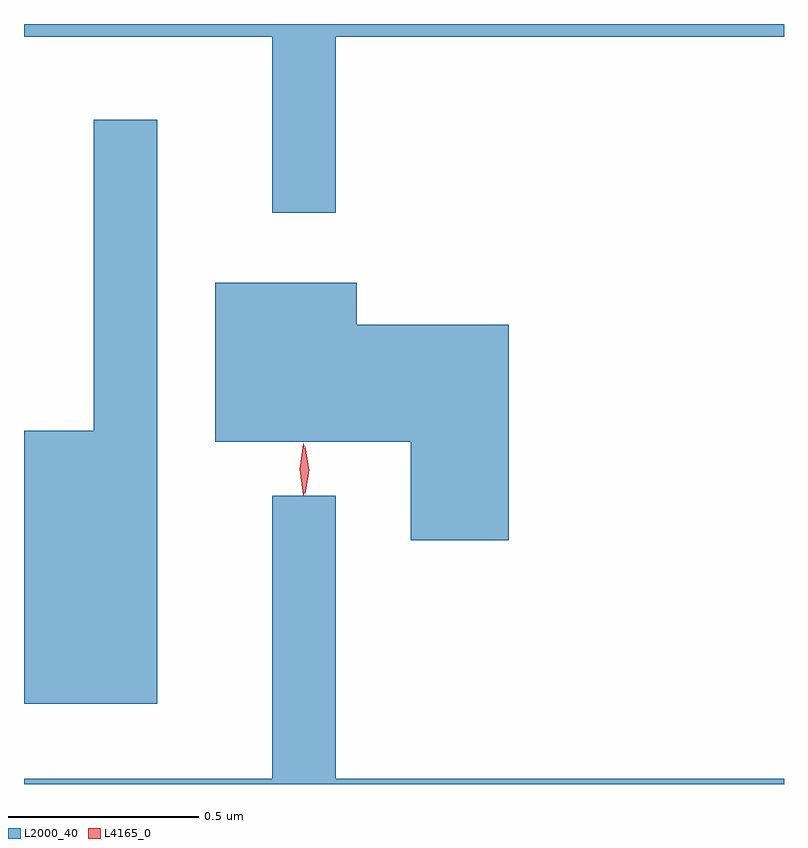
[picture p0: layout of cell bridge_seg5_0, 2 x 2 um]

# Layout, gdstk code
import gdstk
lib = gdstk.Library(unit=1e-6, precision=1e-09)
def P(c, l, *ps):  # polygons
    for p in ps: c.add(gdstk.Polygon(p, *l))
L2000_40 = (2000, 40)
L4165_0 = (4165, 0)

bridge_seg5_0 = lib.new_cell('bridge_seg5_0')
P(bridge_seg5_0, L2000_40, [(1736.139,1507.856),(1737.318,1507.856),(1737.318,1507.89),(1735.318,1507.89),(1735.318,1507.856),(1735.971,1507.856),(1735.971,1507.393),(1736.139,1507.393)],
  [(1735.669,1507.638),(1735.501,1507.638),(1735.501,1506.819),(1735.318,1506.819),(1735.318,1506.101),(1735.669,1506.101)],
  [(1736.594,1507.099),(1736.194,1507.099),(1736.194,1507.209),(1735.821,1507.209),(1735.821,1506.791),(1736.336,1506.791),(1736.336,1506.531),(1736.594,1506.531)],
  [(1735.971,1506.648),(1735.971,1505.904),(1735.318,1505.904),(1735.318,1505.89),(1737.318,1505.89),(1737.318,1505.904),(1736.139,1505.904),(1736.139,1506.648)])
P(bridge_seg5_0, L4165_0, [(1736.053,1506.65),(1736.044,1506.718),(1736.053,1506.786),(1736.054,1506.786),(1736.054,1506.786),(1736.064,1506.718),(1736.054,1506.65),(1736.054,1506.65)],
  [(1736.058,1506.653),(1736.058,1506.654),(1736.048,1506.716),(1736.058,1506.778),(1736.058,1506.779),(1736.058,1506.778),(1736.068,1506.716),(1736.058,1506.654)])

lib.write_gds('bridge_seg5_0.gds')
